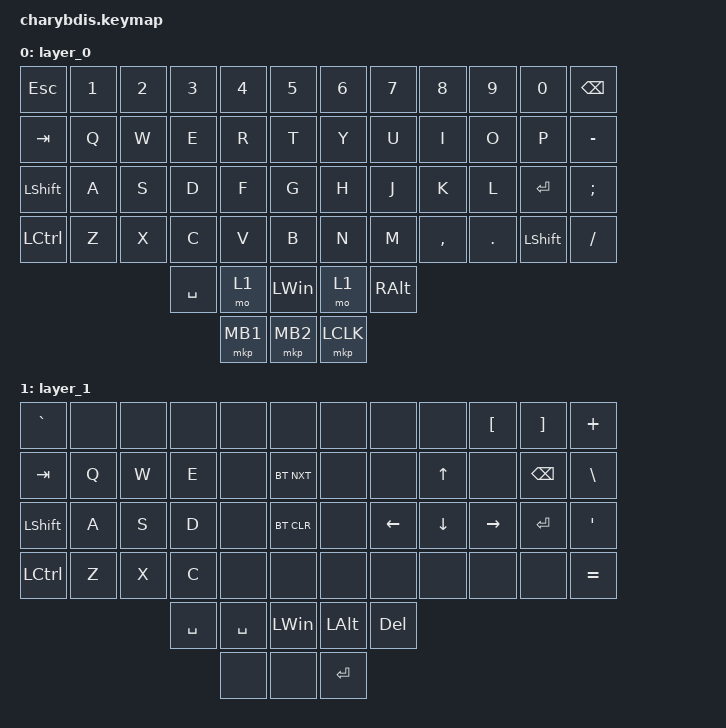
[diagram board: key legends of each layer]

#include <dt-bindings/zmk/mouse.h>
#include <behaviors.dtsi>
#include <dt-bindings/zmk/bt.h>
#include <dt-bindings/zmk/keys.h>
#include <dt-bindings/zmk/pointing.h>

&lt {
    tapping-term-ms = <200>;
    flavor = "balanced";
    quick-tap-ms = <150>;
};

/ {
    keymap {
        compatible = "zmk,keymap";

        layer_0 {
            bindings = <
&kp ESC         &kp N1  &kp N2  &kp N3        &kp N4     &kp N5        &kp N6           &kp N7     &kp N8     &kp N9            &kp N0         &kp BACKSPACE
&kp TAB         &kp Q   &kp W   &kp E         &kp R      &kp T         &kp Y            &kp U      &kp I      &kp O             &kp P          &kp MINUS
&kp LEFT_SHIFT  &kp A   &kp S   &kp D         &kp F      &kp G         &kp H            &kp J      &kp K      &kp L             &kp ENTER      &kp SEMI        
&kp LCTRL       &kp Z   &kp X   &kp C         &kp V      &kp B         &kp N            &kp M      &kp COMMA  &kp DOT           &kp LEFT_SHIFT &kp FSLH  
                                &kp SPACE     &mo 1      &kp LEFT_WIN  &mo 1   &kp RALT
                                              &mkp MB1   &mkp MB2      &mkp LCLK
            >;

            trackball-bindings = <&tmv_coarse>;
        };

        layer_1 {
            bindings = <
&kp GRAVE         &none   &none   &none      &none           &none         &none      &none       &none       &kp LEFT_BRACKET   &kp RIGHT_BRACKET  &kp PLUS
&kp TAB           &kp Q   &kp W   &kp E      &none           &bt BT_NXT    &none      &none       &kp UP      &none              &kp BACKSPACE      &kp BSLH
&kp LEFT_SHIFT    &kp A   &kp S   &kp D      &none           &bt BT_CLR    &none      &kp LEFT    &kp DOWN    &kp RIGHT          &kp ENTER          &kp SQT
&kp LCTRL         &kp Z   &kp X   &kp C      &none           &none         &none      &none       &none       &none              &none              &kp EQUAL
                                  &kp SPACE  &kp SPACE       &kp LEFT_WIN  &kp LALT   &kp DELETE
                                             &none           &none      &kp ENTER
            >;

            trackball-bindings = <&tsl>;
        };
        /* 
none          trackball-bindings = <&tsl>;

        };
       
       Mouse {
            bindings = <
&none        &none         &none         &none         &none      &none         &none       &none      &none         &none         &none         &none
&none        &none         &none         &none         &none      &none         &bt BT_CLR  &none      &bt BT_SEL 2  &bt BT_SEL 1  &bt BT_SEL 0  &none
&none        &none         &none         &none         &none      &none         &none       &none     &none         &none        &none        &none
&none        &none         &none         &none         &none      &none         &none       &none     &none         &none        &none        &bootloader
                                         &none         &none      &none         &none       &none
                                                       &none      &none        &none
            >;


        };

        layer_4 {
            bindings = <
&none        &none         &none         &none         &none      &none         &none       &none      &none         &none         &none         &none
&none        &none         &none         &none         &none      &none         &bt BT_CLR  &none      &bt BT_SEL 2  &bt BT_SEL 1  &bt BT_SEL 0  &none
&none        &none         &none         &none         &none      &none         &none       &none     &none         &none        &none        &none
&none        &none         &none         &none         &none      &none         &none       &none     &none         &none        &none        &bootloader
                                         &none         &none      &none         &none       &none
                                                       &none      &none        &none
            >;


                trackball-bindings = <&tsl>;
        };

        layer_5 {
            bindings = <
&none        &none         &none         &none         &none      &none         &none       &none      &none         &none         &none         &none
&none        &none         &none         &none         &none      &none         &bt BT_CLR  &none      &bt BT_SEL 2  &bt BT_SEL 1  &bt BT_SEL 0  &none
&none        &none         &none         &none         &none      &none         &none       &none     &none         &none        &none        &none
&none        &none         &none         &none         &none      &none         &none       &none     &none         &none        &none        &bootloader
                                         &none         &none      &none         &none       &none
                                                       &none      &none        &none
            >;
                trackball-bindings = <&tmv_fine>;

        };*/
    };
};
